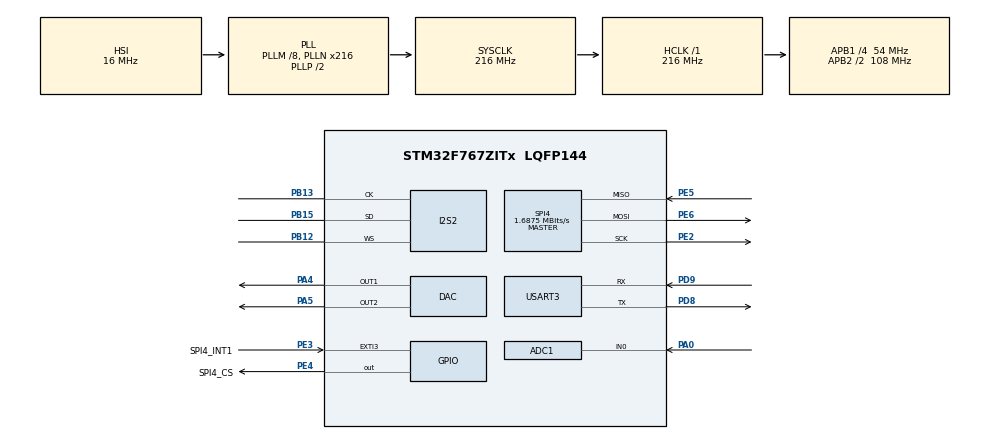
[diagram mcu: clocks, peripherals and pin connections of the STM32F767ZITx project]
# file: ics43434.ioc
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ADC1.Channel-1\#ChannelRegularConversion=ADC_CHANNEL_0
ADC1.ContinuousConvMode=DISABLE
ADC1.EOCSelection=ADC_EOC_SEQ_CONV
ADC1.ExternalTrigConv=ADC_EXTERNALTRIGCONV_T6_TRGO
ADC1.NbrOfConversionFlag=1
ADC1.Rank-1\#ChannelRegularConversion=1
ADC1.SamplingTime-1\#ChannelRegularConversion=ADC_SAMPLETIME_3CYCLES
ADC1.master=1
DAC.DAC_Trigger2=DAC_TRIGGER_T2_TRGO
Dma.DAC2.0.Direction=DMA_MEMORY_TO_PERIPH
Dma.DAC2.0.FIFOMode=DMA_FIFOMODE_DISABLE
Dma.DAC2.0.Instance=DMA1_Stream6
Dma.DAC2.0.MemDataAlignment=DMA_MDATAALIGN_WORD
Dma.DAC2.0.MemInc=DMA_MINC_ENABLE
Dma.DAC2.0.Mode=DMA_CIRCULAR
Dma.DAC2.0.PeriphDataAlignment=DMA_PDATAALIGN_WORD
Dma.DAC2.0.PeriphInc=DMA_PINC_DISABLE
Dma.DAC2.0.Priority=DMA_PRIORITY_VERY_HIGH
Dma.Request0=DAC2
Dma.Request1=SPI2_RX
Dma.Request2=USART3_TX
Dma.SPI2_RX.1.Direction=DMA_PERIPH_TO_MEMORY
Dma.SPI2_RX.1.FIFOMode=DMA_FIFOMODE_DISABLE
Dma.SPI2_RX.1.Instance=DMA1_Stream1
Dma.SPI2_RX.1.MemDataAlignment=DMA_MDATAALIGN_HALFWORD
Dma.SPI2_RX.1.MemInc=DMA_MINC_ENABLE
Dma.SPI2_RX.1.Mode=DMA_CIRCULAR
Dma.SPI2_RX.1.PeriphDataAlignment=DMA_PDATAALIGN_HALFWORD
Dma.SPI2_RX.1.PeriphInc=DMA_PINC_DISABLE
Dma.SPI2_RX.1.Priority=DMA_PRIORITY_HIGH
Dma.USART3_TX.2.Direction=DMA_MEMORY_TO_PERIPH
Dma.USART3_TX.2.FIFOMode=DMA_FIFOMODE_DISABLE
Dma.USART3_TX.2.Instance=DMA1_Stream3
Dma.USART3_TX.2.MemDataAlignment=DMA_MDATAALIGN_BYTE
Dma.USART3_TX.2.MemInc=DMA_MINC_ENABLE
Dma.USART3_TX.2.Mode=DMA_NORMAL
Dma.USART3_TX.2.PeriphDataAlignment=DMA_PDATAALIGN_BYTE
Dma.USART3_TX.2.PeriphInc=DMA_PINC_DISABLE
Dma.USART3_TX.2.Priority=DMA_PRIORITY_LOW
I2S2.AudioFreq=I2S_AUDIOFREQ_8K
I2S2.CPOL=I2S_CPOL_HIGH
I2S2.DataFormat=I2S_DATAFORMAT_24B
I2S2.ErrorAudioFreq=0.0 %
I2S2.FullDuplexMode=I2S_FULLDUPLEXMODE_DISABLE
I2S2.Instance=SPI$Index
I2S2.Mode=I2S_MODE_MASTER_RX
I2S2.RealAudioFreq=8.0 KHz
I2S2.Standard=I2S_STANDARD_PHILIPS
I2S2.VirtualMode=I2S_MODE_MASTER
Mcu.Family=STM32F7
Mcu.Name=STM32F767ZITx
Mcu.Package=LQFP144
NVIC.ADC_IRQn=true\:0\:0\:false\:false\:true\:true\:true\:true
NVIC.DMA1_Stream1_IRQn=true\:0\:0\:false\:false\:true\:false\:true\:true
NVIC.DMA1_Stream3_IRQn=true\:0\:0\:false\:false\:true\:false\:true\:true
NVIC.DMA1_Stream6_IRQn=true\:0\:0\:false\:false\:true\:false\:true\:true
NVIC.EXTI3_IRQn=true\:0\:0\:false\:false\:true\:true\:true\:true
NVIC.PriorityGroup=NVIC_PRIORITYGROUP_4
NVIC.TIM2_IRQn=true\:0\:0\:false\:false\:true\:true\:true\:true
NVIC.USART3_IRQn=true\:0\:0\:false\:false\:true\:true\:true\:true
PA0/WKUP.Signal=ADCx_IN0
PA13.GPIO_Label=TMS
PA13.Mode=Serial_Wire
PA13.Signal=SYS_JTMS-SWDIO
PA14.GPIO_Label=TCK
PA14.Mode=Serial_Wire
PA14.Signal=SYS_JTCK-SWCLK
PA4.Signal=COMP_DAC1_group
PA5.Signal=COMP_DAC2_group
PB12.Mode=Half_Duplex_Master
PB12.Signal=I2S2_WS
PB13.Mode=Half_Duplex_Master
PB13.Signal=I2S2_CK
PB15.Mode=Half_Duplex_Master
PB15.Signal=I2S2_SD
PD8.Mode=Asynchronous
PD8.Signal=USART3_TX
PD9.Mode=Asynchronous
PD9.Signal=USART3_RX
PE2.Mode=Full_Duplex_Master
PE2.Signal=SPI4_SCK
PE3.GPIO_Label=SPI4_INT1
PE3.Signal=GPXTI3
PE4.GPIO_Label=SPI4_CS
PE4.Signal=GPIO_Output
PE5.Mode=Full_Duplex_Master
PE5.Signal=SPI4_MISO
PE6.Mode=Full_Duplex_Master
PE6.Signal=SPI4_MOSI
ProjectManager.HeapSize=0x200
ProjectManager.StackSize=0x400
ProjectManager.TargetToolchain=STM32CubeIDE
RCC.48MHZClocksFreq_Value=24000000
RCC.AHBFreq_Value=216000000
RCC.APB1CLKDivider=RCC_HCLK_DIV4
RCC.APB1Freq_Value=54000000
RCC.APB1TimFreq_Value=108000000
RCC.APB2CLKDivider=RCC_HCLK_DIV2
RCC.APB2Freq_Value=108000000
RCC.APB2TimFreq_Value=216000000
RCC.CortexFreq_Value=216000000
RCC.HCLKFreq_Value=216000000
RCC.HSE_VALUE=16000000
RCC.HSI_VALUE=16000000
RCC.LSE_VALUE=32768
RCC.PLLM=8
RCC.PLLMUL=RCC_PLL_MUL9
RCC.PLLN=216
RCC.PRESCALERUSB=RCC_USBCLKSOURCE_PLL_DIV1_5
RCC.SYSCLKFreq_VALUE=216000000
RCC.SYSCLKSource=RCC_SYSCLKSOURCE_PLLCLK
RCC.SYSCLKSourceVirtual=RCC_SYSCLKSOURCE_PLLCLK
RCC.USBFreq_Value=216000000
RCC.VCOOutputFreq_Value=432000000
SH.ADCx_IN0.0=ADC1_IN0,IN0
SH.COMP_DAC1_group.0=DAC_OUT1,DAC_OUT1
SH.COMP_DAC2_group.0=DAC_OUT2,DAC_OUT2
SPI4.BaudRatePrescaler=SPI_BAUDRATEPRESCALER_64
SPI4.CLKPhase=SPI_PHASE_2EDGE
SPI4.CLKPolarity=SPI_POLARITY_HIGH
SPI4.CalculateBaudRate=1.6875 MBits/s
SPI4.DataSize=SPI_DATASIZE_8BIT
SPI4.Direction=SPI_DIRECTION_2LINES
SPI4.Mode=SPI_MODE_MASTER
SPI4.VirtualType=VM_MASTER
TIM2.Period=36000-1
TIM2.Prescaler=1-1
TIM2.TIM_MasterOutputTrigger=TIM_TRGO_UPDATE
TIM6.AutoReloadPreload=TIM_AUTORELOAD_PRELOAD_DISABLE
TIM6.Prescaler=0
TIM6.TIM_MasterOutputTrigger=TIM_TRGO_UPDATE
USART3.VirtualMode-Asynchronous=VM_ASYNC
VP_TIM2_VS_ClockSourceINT.Mode=Internal
VP_TIM6_VS_ClockSourceINT.Mode=Enable_Timer
board=NUCLEO-F767ZI

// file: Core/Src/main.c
/* USER CODE BEGIN Header */
/**
  ******************************************************************************
  * @file           : main.c
  * @brief          : Main program body
  ******************************************************************************
  * @attention
  *
  * <h2><center>&copy; Copyright (c) 2021 STMicroelectronics.
  * All rights reserved.</center></h2>
  *
  * This software component is licensed by ST under BSD 3-Clause license,
  * the "License"; You may not use this file except in compliance with the
  * License. You may obtain a copy of the License at:
  *                        opensource.org/licenses/BSD-3-Clause
  *
  ******************************************************************************
  */
/* USER CODE END Header */
#include "main.h"
#include "adc.h"
#include "dac.h"
#include "dma.h"
#include "i2s.h"
#include "spi.h"
#include "tim.h"
#include "usart.h"
#include "gpio.h"

/* USER CODE BEGIN Includes */
#include <string.h>
#include "commands.h"
#include "interface.h" // print startup message
#include "adxl313.h"
#include "ics43434.h"

/* USER CODE END Includes */

/* USER CODE BEGIN PD */
/* Length of the array - 256 (for 16 bits) 128 (for 32 bits - real)
	Array is half full when sensor has completed 1024 readings */
#define DMA_BUF_LEN   32

/* USER CODE END PD */

/* USER CODE BEGIN PV */
char last_valid_cmd[RX_BUFF_LEN] = {0};

//static adxl313_dev *acc_ptr;

static volatile ics43434_dev *mic_ptr;  // microphone

uint16_t i2s_dma_buffer[DMA_BUF_LEN] = {0};

uint32_t counter = 0;

/* USER CODE END PV */

void SystemClock_Config(void);

/* USER CODE BEGIN 0 */

void HAL_GPIO_EXTI_Callback(uint16_t GPIO_Pin)
{
    /* If The INT Source Is EXTI Line3 (PE3 Pin) */
    if(GPIO_Pin == SPI4_INT1_Pin)
    {
      //acc_ptr->data_ready = true;
    }
}

void HAL_I2S_RxHalfCpltCallback (I2S_HandleTypeDef *hi2s)
{
	//UART_puts("Half Full\n\r");
	mic_ptr->buffer_ptr = &i2s_dma_buffer[0];

	mic_ptr->data_ready = 1;
	//counter++;
}

void HAL_I2S_RxCpltCallback(I2S_HandleTypeDef *hi2s)
{
	/*HAL_I2S_DMAPause(hi2s);
	UART_puts("C \n\r");
	HAL_I2S_DMAResume(hi2s);
	return;*/
	mic_ptr->buffer_ptr = (&i2s_dma_buffer[DMA_BUF_LEN/2]);

	mic_ptr->data_ready = 1;

	//counter++;
}

/* USER CODE END 0 */

int main(void)
{
  /* USER CODE BEGIN 1 */
  char c;
  //char str[32];
  int err = 0;

  //adxl313_dev   acc_dev;  // accelerometer
  ics43434_dev  mic_dev;  // microphone

  // uint16_t i2s_dma_buff[I2S_DMA_BUF_LEN] = {0};

  /* USER CODE END 1 */

  /* MCU Configuration--------------------------------------------------------*/

  /* Reset of all peripherals, Initializes the Flash interface and the Systick. */
  HAL_Init();

  /* USER CODE BEGIN Init */

  // activate pll_i2s on RCC register
  RCC->CR|=RCC_CR_PLLI2SON;
  // Wait until the clock is enabled
  while(!(RCC->CR & RCC_CR_PLLI2SRDY));

  /* USER CODE END Init */

  /* Configure the system clock */
  SystemClock_Config();

  /* Initialize all configured peripherals */
  MX_GPIO_Init();
  MX_DMA_Init();
  MX_USART3_UART_Init();
  MX_ADC1_Init();
  MX_DAC_Init();
  MX_TIM2_Init();
  MX_TIM6_Init();
  MX_SPI4_Init();
  MX_I2S2_Init();
  /* USER CODE BEGIN 2 */
  // print startup message
  ver_cb(1, NULL);
  UART_puts("\n\rType '?' for list of available commands\n\r");
  UART_puts("Type '? <cmd>' for more info on a given command\n\r");

  HAL_GPIO_WritePin(SPI4_CS_GPIO_Port, SPI4_CS_Pin, (GPIO_PinState)GPIO_PIN_SET);

  /* USER CODE END 2 */

  /* Infinite loop */
  /* USER CODE BEGIN WHILE */

  /* Initialize accelerometer */
  // adxl313_begin(&acc_dev, ADXL313_SPI_COMM, ADXL313_4G_RANGE, ADXL313_FULL_RES, 3200);
  // acc_ptr = &acc_dev;

  UART_putchar('>'); // print prompt
  Rx_UART_init(); // set USART3 interrupt

  err = ics43434_begin(&mic_dev, &hi2s2, i2s_dma_buffer, DMA_BUF_LEN);
  if(err)
  {
    UART_puts(hal_error_print[err++]); // defined in utils.c
    return -1;
  }
  mic_ptr = &mic_dev;

  while (1)
  {
    if(Rx_flag)
    {
      c = UART_Receive(); // Returns received char
      if(c != (char)(-1))
        // Its not a special character
        UART_putchar(c); // Received char is echoed

      Rx_flag = 0;
    }

    if(cmd_received)
    {
      if(exec_cmd(Rx_Buffer) == 0)// Is there an error?
        // No error. Command is valid
        strcpy(last_valid_cmd, Rx_Buffer); // Save this as last valid command

      UART_putchar('>');// print prompt
      cmd_received = 0;
      Rx_UART_init(); // ready to begin reception
    }

    if(mic_ptr->data_ready)
	{
    	//sprintf(str, "Counter = %lu\n\r", counter);
    	//UART_puts(str);
    	//counter = 0;

    	ics43434_process_data(mic_ptr);

    	mic_ptr->data_ready = 0;
	}

    /*if(acc_ptr->data_ready)
    {
      acc_ptr->data_ready = false;

      adxl313_read_accel(acc_ptr);

      sprintf(str, "x:%1.4f \t y:%1.4f \t z:%1.4f \n\r", acc_ptr->x, acc_ptr->y, acc_ptr->z);
      UART_puts(str);
    }*/

    /* USER CODE END WHILE */

  }
}

void SystemClock_Config(void)
{
  RCC_OscInitTypeDef RCC_OscInitStruct = {0};
  RCC_ClkInitTypeDef RCC_ClkInitStruct = {0};

  /** Configure the main internal regulator output voltage
  */
  __HAL_RCC_PWR_CLK_ENABLE();
  __HAL_PWR_VOLTAGESCALING_CONFIG(PWR_REGULATOR_VOLTAGE_SCALE1);

  /** Initializes the RCC Oscillators according to the specified parameters
  * in the RCC_OscInitTypeDef structure.
  */
  RCC_OscInitStruct.OscillatorType = RCC_OSCILLATORTYPE_HSI;
  RCC_OscInitStruct.HSIState = RCC_HSI_ON;
  RCC_OscInitStruct.HSICalibrationValue = RCC_HSICALIBRATION_DEFAULT;
  RCC_OscInitStruct.PLL.PLLState = RCC_PLL_ON;
  RCC_OscInitStruct.PLL.PLLSource = RCC_PLLSOURCE_HSI;
  RCC_OscInitStruct.PLL.PLLM = 8;
  RCC_OscInitStruct.PLL.PLLN = 216;
  RCC_OscInitStruct.PLL.PLLP = RCC_PLLP_DIV2;
  RCC_OscInitStruct.PLL.PLLQ = 2;
  RCC_OscInitStruct.PLL.PLLR = 2;
  if (HAL_RCC_OscConfig(&RCC_OscInitStruct) != HAL_OK)
  {
    Error_Handler();
  }

  /** Activate the Over-Drive mode
  */
  if (HAL_PWREx_EnableOverDrive() != HAL_OK)
  {
    Error_Handler();
  }

  /** Initializes the CPU, AHB and APB buses clocks
  */
  RCC_ClkInitStruct.ClockType = RCC_CLOCKTYPE_HCLK|RCC_CLOCKTYPE_SYSCLK
                              |RCC_CLOCKTYPE_PCLK1|RCC_CLOCKTYPE_PCLK2;
  RCC_ClkInitStruct.SYSCLKSource = RCC_SYSCLKSOURCE_PLLCLK;
  RCC_ClkInitStruct.AHBCLKDivider = RCC_SYSCLK_DIV1;
  RCC_ClkInitStruct.APB1CLKDivider = RCC_HCLK_DIV4;
  RCC_ClkInitStruct.APB2CLKDivider = RCC_HCLK_DIV2;

  if (HAL_RCC_ClockConfig(&RCC_ClkInitStruct, FLASH_LATENCY_7) != HAL_OK)
  {
    Error_Handler();
  }
}

void Error_Handler(void)
{
  __disable_irq();
  while (1)
  {
  }
}
